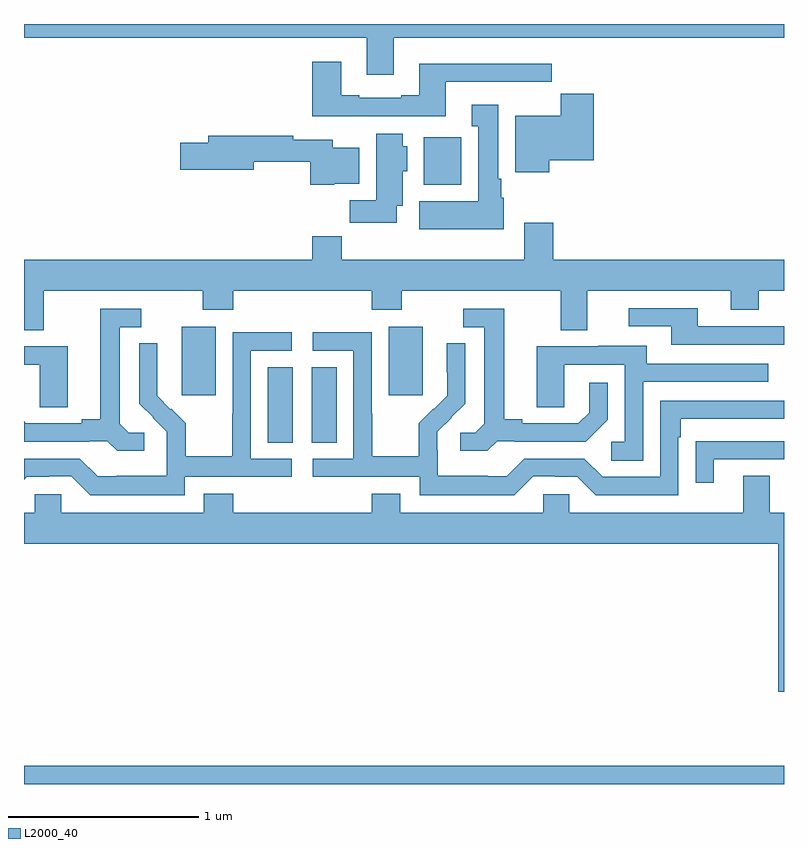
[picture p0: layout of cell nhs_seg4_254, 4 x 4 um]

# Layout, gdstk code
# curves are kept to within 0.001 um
import gdstk
lib = gdstk.Library(unit=1e-6, precision=1e-09)
def R(c, l, rs):  # rectangles x0, y0, x1, y1
    for r in rs: c.add(gdstk.rectangle(r[:2], r[2:], *l))
def P(c, l, *ps):  # polygons
    for p in ps: c.add(gdstk.Polygon(p, *l))
L2000_40 = (2000, 40)

nhs_seg4_254 = lib.new_cell('nhs_seg4_254')
R(nhs_seg4_254, L2000_40, [(123,784.9,127,784.996), (124.283,786.697,124.414,787.094), (124.514,786.697,124.645,787.094), (123.83,786.945,124.009,787.306), (124.919,786.945,125.098,787.306), (125.105,788.054,125.301,788.305)])
P(nhs_seg4_254, L2000_40, [(124.945,788.828),(127,788.828),(127,788.9),(123,788.9),(123,788.828),(124.805,788.828),(124.805,788.634),(124.945,788.634)],
  [(125.221,788.595),(125.669,788.595),(125.669,788.597),(125.778,788.597),(125.778,788.692),(125.081,788.692),(125.081,788.524),(124.985,788.524),(124.985,788.511),(124.765,788.511),(124.765,788.524),(124.669,788.524),(124.669,788.701),(124.517,788.701),(124.517,788.415),(125.221,788.415)],
  [(125.764,788.183),(125.999,788.183),(125.999,788.532),(125.825,788.532),(125.825,788.416),(125.585,788.416),(125.585,788.12),(125.764,788.12)],
  [(125.524,787.986),(125.512,787.986),(125.512,788.086),(125.497,788.086),(125.497,788.476),(125.357,788.476),(125.357,788.363),(125.39,788.363),(125.39,787.966),(125.081,787.966),(125.081,787.82),(125.524,787.82)],
  [(124.963,787.943),(124.993,787.943),(124.993,788.124),(125.017,788.124),(125.017,788.256),(124.993,788.256),(124.993,788.323),(124.853,788.323),(124.853,787.972),(124.714,787.972),(124.714,787.854),(124.963,787.854)],
  [(124.632,788.06),(124.765,788.06),(124.765,788.248),(124.624,788.248),(124.624,788.292),(124.418,788.292),(124.418,788.312),(123.971,788.312),(123.971,788.276),(123.822,788.276),(123.822,788.134),(124.21,788.134),(124.21,788.176),(124.507,788.176),(124.507,788.054),(124.632,788.054)],
  [(123.103,787.496),(123.94,787.496),(123.94,787.397),(124.1,787.397),(124.1,787.496),(124.829,787.496),(124.829,787.397),(124.989,787.397),(124.989,787.496),(125.825,787.496),(125.825,787.288),(125.965,787.288),(125.965,787.496),(126.719,787.496),(126.719,787.397),(126.867,787.397),(126.867,787.496),(127,787.496),(127,787.66),(125.786,787.66),(125.786,787.855),(125.633,787.855),(125.633,787.66),(124.673,787.66),(124.673,787.784),(124.517,787.784),(124.517,787.66),(123,787.66),(123,787.288),(123.103,787.288)],
  [(127,787.308),(126.547,787.308),(126.547,787.404),(126.183,787.404),(126.183,787.308),(126.407,787.308),(126.407,787.212),(127,787.212)],
  [(123.634,786.75),(123.552,786.75),(123.505,786.797),(123.505,787.305),(123.616,787.305),(123.616,787.401),(123.401,787.401),(123.401,786.821),(123.305,786.821),(123.305,786.798),(123.01,786.798),(123,786.808),(123,786.702),(123.344,786.702),(123.344,786.705),(123.438,786.705),(123.49,786.653),(123.634,786.653)],
  [(125.49,786.705),(125.584,786.705),(125.584,786.702),(125.956,786.702),(126.072,786.818),(126.072,787.012),(125.975,787.012),(125.975,786.855),(125.918,786.798),(125.623,786.798),(125.623,786.821),(125.527,786.821),(125.527,787.401),(125.313,787.401),(125.313,787.305),(125.423,787.305),(125.423,786.797),(125.376,786.75),(125.295,786.75),(125.295,786.653),(125.438,786.653)],
  [(125.679,786.519),(125.795,786.519),(125.795,786.516),(125.913,786.516),(126.009,786.42),(126.444,786.42),(126.444,786.725),(126.457,786.725),(126.457,786.822),(127,786.822),(127,786.918),(126.348,786.918),(126.348,786.516),(126.045,786.516),(125.949,786.612),(125.634,786.612),(125.541,786.519),(125.441,786.519),(125.441,786.523),(125.178,786.523),(125.178,786.657),(125.176,786.657),(125.176,786.754),(125.322,786.902),(125.322,787.22),(125.226,787.22),(125.226,787.066),(125.228,787.066),(125.228,786.944),(125.157,786.873),(125.154,786.876),(125.077,786.799),(125.077,786.625),(124.833,786.625),(124.833,786.848),(124.83,786.848),(124.83,787.278),(124.521,787.278),(124.521,787.179),(124.734,787.179),(124.734,786.612),(124.521,786.612),(124.521,786.516),(125.082,786.516),(125.082,786.419),(125.579,786.419)],
  [(123.846,786.516),(124.408,786.516),(124.408,786.612),(124.194,786.612),(124.194,787.179),(124.408,787.179),(124.408,787.278),(124.098,787.278),(124.098,786.848),(124.096,786.848),(124.096,786.625),(123.851,786.625),(123.851,786.799),(123.774,786.876),(123.771,786.873),(123.701,786.944),(123.702,787.22),(123.606,787.22),(123.606,786.902),(123.752,786.754),(123.752,786.657),(123.75,786.657),(123.75,786.523),(123.487,786.523),(123.487,786.519),(123.387,786.519),(123.294,786.612),(123,786.612),(123,786.501),(123.015,786.516),(123.134,786.516),(123.134,786.519),(123.249,786.519),(123.349,786.419),(123.846,786.419)],
  [(126.258,787.017),(126.917,787.017),(126.917,787.113),(126.277,787.113),(126.277,787.207),(126.023,787.207),(126.023,787.203),(125.699,787.203),(125.699,786.883),(125.844,786.883),(125.844,787.107),(126.162,787.107),(126.162,786.702),(126.09,786.702),(126.09,786.601),(126.258,786.601)],
  [(123.229,787.203),(123,787.203),(123,787.107),(123.084,787.107),(123.084,786.883),(123.229,786.883)],
  [(126.631,786.609),(127,786.609),(127,786.705),(126.637,786.705),(126.637,786.704),(126.535,786.704),(126.535,786.486),(126.631,786.486)],
  [(127,786.328),(126.925,786.328),(126.925,786.523),(126.785,786.523),(126.785,786.328),(125.871,786.328),(125.871,786.426),(125.733,786.426),(125.733,786.328),(124.981,786.328),(124.981,786.427),(124.829,786.427),(124.829,786.328),(124.1,786.328),(124.1,786.427),(123.947,786.427),(123.947,786.328),(123.195,786.328),(123.195,786.426),(123.057,786.426),(123.057,786.328),(123,786.328),(123,786.164),(126.971,786.164),(126.971,785.385),(127,785.385)])

lib.write_gds('nhs_seg4_254.gds')
